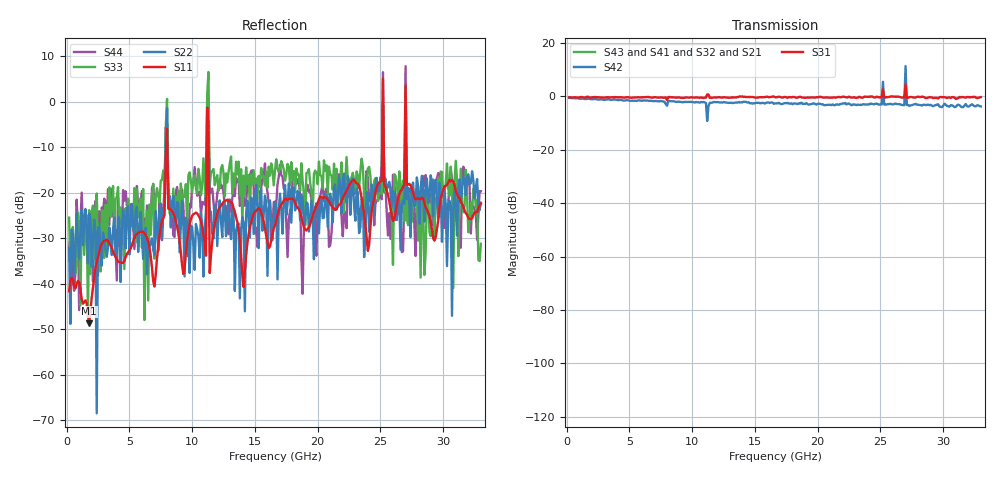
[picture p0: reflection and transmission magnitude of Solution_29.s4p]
# GHZ S RI R 50
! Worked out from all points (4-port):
!   329 points, 200 MHz to 33 GHz, reference 50 ohm
!   strongest paths, dB at 200 MHz, 8.4 GHz, 16.6 GHz, 24.8 GHz, 33 GHz:
!     S31: -0.4, -0.3, -0.3, -0.2, -0.3
!     S42: -0.5, -1.8, -2.6, -2.9, -3.7
!     S43: -, -, -, -, -
!     S41: -, -, -, -, -
!     S32: -, -, -, -, -
!     S21: -, -, -, -, -
!   lowest |S11| = -48.7 dB at 1.8 GHz (marker M1), VSWR 1.01, Z = 49.7 + j0.246 ohm
!   |S11| at or under -10 dB: start of sweep to 7.931 GHz; 11.31 GHz to 25.13 GHz (13.82 GHz wide, 75.9 % of centre); 27.06 GHz to end of sweep (the widest 3 of 5)
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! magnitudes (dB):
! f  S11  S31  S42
! 200 MHz  -41.7  -0.4  -0.5
! 1.8 GHz  -48.7  -0.3  -0.9
! 2.4 GHz  -35.2  -0.3  -1.1
! 2.5 GHz  -34.1  -0.3  -1.2
! 6.2 GHz  -28.9  -0.3  -1.5
! 8 GHz  -5.9  -1.4  -3.5
! 33 GHz  -22.4  -0.3  -3.7
